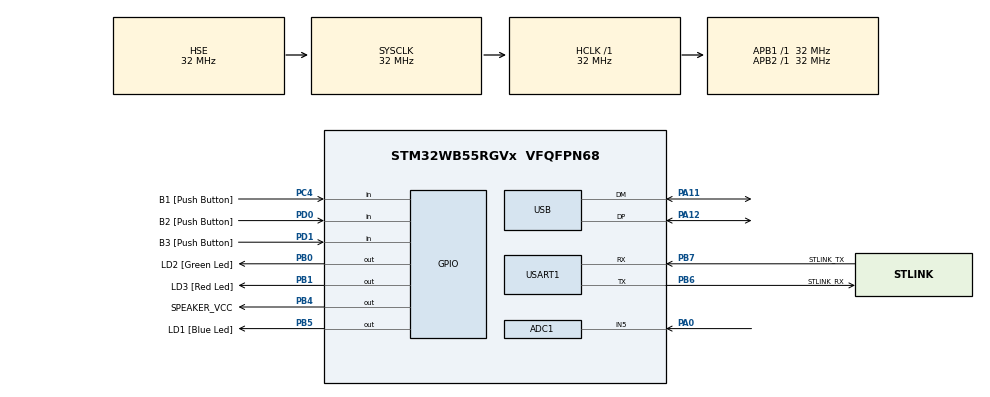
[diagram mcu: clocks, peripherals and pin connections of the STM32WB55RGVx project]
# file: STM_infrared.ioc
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ADC1.Channel-0\#ChannelRegularConversion=ADC_CHANNEL_5
ADC1.DMAContinuousRequests=ENABLE
ADC1.ExternalTrigConv=ADC_EXTERNALTRIG_T2_TRGO
ADC1.NbrOfConversionFlag=1
ADC1.OffsetNumber-0\#ChannelRegularConversion=ADC_OFFSET_NONE
ADC1.Rank-0\#ChannelRegularConversion=1
ADC1.SamplingTime-0\#ChannelRegularConversion=ADC_SAMPLETIME_640CYCLES_5
ADC1.master=1
Dma.ADC1.0.Direction=DMA_PERIPH_TO_MEMORY
Dma.ADC1.0.EventEnable=DISABLE
Dma.ADC1.0.Instance=DMA1_Channel1
Dma.ADC1.0.MemDataAlignment=DMA_MDATAALIGN_HALFWORD
Dma.ADC1.0.MemInc=DMA_MINC_DISABLE
Dma.ADC1.0.Mode=DMA_CIRCULAR
Dma.ADC1.0.PeriphDataAlignment=DMA_PDATAALIGN_HALFWORD
Dma.ADC1.0.PeriphInc=DMA_PINC_DISABLE
Dma.ADC1.0.Polarity=HAL_DMAMUX_REQ_GEN_RISING
Dma.ADC1.0.Priority=DMA_PRIORITY_LOW
Dma.ADC1.0.RequestNumber=1
Dma.ADC1.0.SignalID=NONE
Dma.ADC1.0.SyncEnable=DISABLE
Dma.ADC1.0.SyncPolarity=HAL_DMAMUX_SYNC_NO_EVENT
Dma.ADC1.0.SyncRequestNumber=1
Dma.ADC1.0.SyncSignalID=NONE
Dma.Request0=ADC1
Mcu.Family=STM32WB
Mcu.Name=STM32WB55RGVx
Mcu.Package=VFQFPN68
NVIC.DMA1_Channel1_IRQn=true\:0\:0\:false\:false\:true\:false\:true\:true
NVIC.PriorityGroup=NVIC_PRIORITYGROUP_4
OSC_IN.Mode=HSE-External-Oscillator
OSC_IN.Signal=RCC_OSC_IN
OSC_OUT.Mode=HSE-External-Oscillator
OSC_OUT.Signal=RCC_OSC_OUT
PA0.Signal=ADCx_IN5
PA11.Mode=Device
PA11.Signal=USB_DM
PA12.Mode=Device
PA12.Signal=USB_DP
PA13.GPIO_Label=JTMS
PA13.Mode=Trace_Asynchronous_SW
PA13.Signal=SYS_JTMS-SWDIO
PA14.GPIO_Label=JTCK
PA14.Mode=Trace_Asynchronous_SW
PA14.Signal=SYS_JTCK-SWCLK
PB0.GPIO_Label=LD2 [Green Led]
PB0.Signal=GPIO_Output
PB1.GPIO_Label=LD3 [Red Led]
PB1.Signal=GPIO_Output
PB3.GPIO_Label=JTDO
PB3.Mode=Trace_Asynchronous_SW
PB3.Signal=SYS_JTDO-SWO
PB4.GPIO_Label=SPEAKER_VCC
PB4.Signal=GPIO_Output
PB5.GPIO_Label=LD1 [Blue Led]
PB5.Signal=GPIO_Output
PB6.GPIO_Label=STLINK_RX
PB6.GPIO_PuPd=GPIO_PULLUP
PB6.Mode=Asynchronous
PB6.Signal=USART1_TX
PB7.GPIO_Label=STLINK_TX
PB7.GPIO_PuPd=GPIO_PULLUP
PB7.Mode=Asynchronous
PB7.Signal=USART1_RX
PC13.Mode=SYS_WakeUp1
PC13.Signal=SYS_WKUP2
PC14-OSC32_IN.Mode=LSE-External-Oscillator
PC14-OSC32_IN.Signal=RCC_OSC32_IN
PC15-OSC32_OUT.Mode=LSE-External-Oscillator
PC15-OSC32_OUT.Signal=RCC_OSC32_OUT
PC4.GPIO_Label=B1 [Push Button]
PC4.Signal=GPIO_Input
PD0.GPIO_Label=B2 [Push Button]
PD0.Signal=GPIO_Input
PD1.GPIO_Label=B3 [Push Button]
PD1.Signal=GPIO_Input
ProjectManager.HeapSize=0x200
ProjectManager.StackSize=0x400
ProjectManager.TargetToolchain=STM32CubeIDE
RCC.ADCFreq_Value=48000000
RCC.AHBFreq_Value=32000000
RCC.APB1Freq_Value=32000000
RCC.APB1TimFreq_Value=32000000
RCC.APB2Freq_Value=32000000
RCC.APB2TimFreq_Value=32000000
RCC.APB3Freq_Value=16000000
RCC.CortexFreq_Value=32000000
RCC.HCLKFreq_Value=32000000
RCC.HSE_VALUE=32000000
RCC.HSI48_VALUE=48000000
RCC.HSI_VALUE=16000000
RCC.PLLN=32
RCC.PLLSAI1N=24
RCC.SMPSCLockSelectionVirtual=RCC_SMPSCLKSOURCE_HSI
RCC.SMPSCLockSelectionVirtualVirtual=RCC_SMPSCLKSOURCE_HSI
RCC.SMPSDivider=1
RCC.SYSCLKFreq_VALUE=32000000
RCC.SYSCLKSource=RCC_SYSCLKSOURCE_HSE
RCC.USBFreq_Value=48000000
RCC.VCOOutputFreq_Value=128000000
SH.ADCx_IN5.0=ADC1_IN5,IN5-Single-Ended
TIM2.Period=1000-1
TIM2.Prescaler=3200-1
TIM2.TIM_MasterOutputTrigger=TIM_TRGO_UPDATE
USART1.VirtualMode-Asynchronous=VM_ASYNC
USART1.WordLength=WORDLENGTH_7B
VP_TIM2_VS_ClockSourceINT.Mode=Internal
board=P-NUCLEO-WB55-Nucleo

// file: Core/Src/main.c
/* USER CODE BEGIN Header */
/**
  ******************************************************************************
  * @file           : main.c
  * @brief          : Main program body
  ******************************************************************************
  * @attention
  *
  * <h2><center>&copy; Copyright (c) 2022 STMicroelectronics.
  * All rights reserved.</center></h2>
  *
  * This software component is licensed by ST under BSD 3-Clause license,
  * the "License"; You may not use this file except in compliance with the
  * License. You may obtain a copy of the License at:
  *                        opensource.org/licenses/BSD-3-Clause
  *
  ******************************************************************************
  */
/* USER CODE END Header */
#include "main.h"

/* USER CODE BEGIN Includes */
#include "GP2Y0A02YK0F.h"
#include "string.h"
#include "stdio.h"
/* USER CODE END Includes */

/* USER CODE BEGIN PM */
#define CONVERT_ADC_TO_DISTANCE(adc_val)	((101728 / adc_val) - 21.877)
/* USER CODE END PM */

ADC_HandleTypeDef hadc1;
DMA_HandleTypeDef hdma_adc1;

TIM_HandleTypeDef htim2;

UART_HandleTypeDef huart1;

PCD_HandleTypeDef hpcd_USB_FS;

/* USER CODE BEGIN PV */
static uint32_t adc_measurement = 0;
static volatile uint32_t distance_cm = 0;
static uint8_t counter = 0;
/* USER CODE END PV */

void SystemClock_Config(void);
static void MX_GPIO_Init(void);
static void MX_DMA_Init(void);
static void MX_USART1_UART_Init(void);
static void MX_USB_PCD_Init(void);
static void MX_ADC1_Init(void);
static void MX_TIM2_Init(void);
/* USER CODE BEGIN PFP */
static void Send_Distance_UART(uint32_t distance);
/* USER CODE END PFP */

int main(void)
{

  /* MCU Configuration--------------------------------------------------------*/

  /* Reset of all peripherals, Initializes the Flash interface and the Systick. */
  HAL_Init();

  /* Configure the system clock */
  SystemClock_Config();

  /* Initialize all configured peripherals */
  MX_GPIO_Init();
  MX_DMA_Init();
  MX_USART1_UART_Init();
  MX_USB_PCD_Init();
  MX_ADC1_Init();
  MX_TIM2_Init();
  /* USER CODE BEGIN 2 */
  HAL_ADC_Start_DMA(&hadc1, &adc_measurement, 1);
  HAL_TIM_Base_Start(&htim2);
  /* USER CODE END 2 */

  /* Infinite loop */
  while (1)
  {

  }
}

void SystemClock_Config(void)
{
  RCC_OscInitTypeDef RCC_OscInitStruct = {0};
  RCC_ClkInitTypeDef RCC_ClkInitStruct = {0};
  RCC_PeriphCLKInitTypeDef PeriphClkInitStruct = {0};

  /** Macro to configure the PLL multiplication factor
  */
  __HAL_RCC_PLL_PLLM_CONFIG(RCC_PLLM_DIV1);
  /** Macro to configure the PLL clock source
  */
  __HAL_RCC_PLL_PLLSOURCE_CONFIG(RCC_PLLSOURCE_MSI);
  /** Configure LSE Drive Capability
  */
  HAL_PWR_EnableBkUpAccess();
  __HAL_RCC_LSEDRIVE_CONFIG(RCC_LSEDRIVE_LOW);
  /** Configure the main internal regulator output voltage
  */
  __HAL_PWR_VOLTAGESCALING_CONFIG(PWR_REGULATOR_VOLTAGE_SCALE1);
  /** Initializes the RCC Oscillators according to the specified parameters
  * in the RCC_OscInitTypeDef structure.
  */
  RCC_OscInitStruct.OscillatorType = RCC_OSCILLATORTYPE_HSI|RCC_OSCILLATORTYPE_HSE
                              |RCC_OSCILLATORTYPE_LSE|RCC_OSCILLATORTYPE_MSI;
  RCC_OscInitStruct.HSEState = RCC_HSE_ON;
  RCC_OscInitStruct.LSEState = RCC_LSE_ON;
  RCC_OscInitStruct.HSIState = RCC_HSI_ON;
  RCC_OscInitStruct.MSIState = RCC_MSI_ON;
  RCC_OscInitStruct.HSICalibrationValue = RCC_HSICALIBRATION_DEFAULT;
  RCC_OscInitStruct.MSICalibrationValue = RCC_MSICALIBRATION_DEFAULT;
  RCC_OscInitStruct.MSIClockRange = RCC_MSIRANGE_6;
  RCC_OscInitStruct.PLL.PLLState = RCC_PLL_NONE;
  if (HAL_RCC_OscConfig(&RCC_OscInitStruct) != HAL_OK)
  {
    Error_Handler();
  }
  /** Configure the SYSCLKSource, HCLK, PCLK1 and PCLK2 clocks dividers
  */
  RCC_ClkInitStruct.ClockType = RCC_CLOCKTYPE_HCLK4|RCC_CLOCKTYPE_HCLK2
                              |RCC_CLOCKTYPE_HCLK|RCC_CLOCKTYPE_SYSCLK
                              |RCC_CLOCKTYPE_PCLK1|RCC_CLOCKTYPE_PCLK2;
  RCC_ClkInitStruct.SYSCLKSource = RCC_SYSCLKSOURCE_HSE;
  RCC_ClkInitStruct.AHBCLKDivider = RCC_SYSCLK_DIV1;
  RCC_ClkInitStruct.APB1CLKDivider = RCC_HCLK_DIV1;
  RCC_ClkInitStruct.APB2CLKDivider = RCC_HCLK_DIV1;
  RCC_ClkInitStruct.AHBCLK2Divider = RCC_SYSCLK_DIV1;
  RCC_ClkInitStruct.AHBCLK4Divider = RCC_SYSCLK_DIV1;

  if (HAL_RCC_ClockConfig(&RCC_ClkInitStruct, FLASH_LATENCY_1) != HAL_OK)
  {
    Error_Handler();
  }
  /** Initializes the peripherals clocks
  */
  PeriphClkInitStruct.PeriphClockSelection = RCC_PERIPHCLK_SMPS|RCC_PERIPHCLK_USART1
                              |RCC_PERIPHCLK_USB|RCC_PERIPHCLK_ADC;
  PeriphClkInitStruct.PLLSAI1.PLLN = 24;
  PeriphClkInitStruct.PLLSAI1.PLLP = RCC_PLLP_DIV2;
  PeriphClkInitStruct.PLLSAI1.PLLQ = RCC_PLLQ_DIV2;
  PeriphClkInitStruct.PLLSAI1.PLLR = RCC_PLLR_DIV2;
  PeriphClkInitStruct.PLLSAI1.PLLSAI1ClockOut = RCC_PLLSAI1_USBCLK|RCC_PLLSAI1_ADCCLK;
  PeriphClkInitStruct.Usart1ClockSelection = RCC_USART1CLKSOURCE_PCLK2;
  PeriphClkInitStruct.UsbClockSelection = RCC_USBCLKSOURCE_PLLSAI1;
  PeriphClkInitStruct.AdcClockSelection = RCC_ADCCLKSOURCE_PLLSAI1;
  PeriphClkInitStruct.SmpsClockSelection = RCC_SMPSCLKSOURCE_HSI;
  PeriphClkInitStruct.SmpsDivSelection = RCC_SMPSCLKDIV_RANGE0;
  if (HAL_RCCEx_PeriphCLKConfig(&PeriphClkInitStruct) != HAL_OK)
  {
    Error_Handler();
  }
  /** Enable MSI Auto calibration
  */
  HAL_RCCEx_EnableMSIPLLMode();
}

static void MX_ADC1_Init(void)
{

  ADC_ChannelConfTypeDef sConfig = {0};

  /** Common config
  */
  hadc1.Instance = ADC1;
  hadc1.Init.ClockPrescaler = ADC_CLOCK_ASYNC_DIV1;
  hadc1.Init.Resolution = ADC_RESOLUTION_12B;
  hadc1.Init.DataAlign = ADC_DATAALIGN_RIGHT;
  hadc1.Init.ScanConvMode = ADC_SCAN_DISABLE;
  hadc1.Init.EOCSelection = ADC_EOC_SINGLE_CONV;
  hadc1.Init.LowPowerAutoWait = DISABLE;
  hadc1.Init.ContinuousConvMode = DISABLE;
  hadc1.Init.NbrOfConversion = 1;
  hadc1.Init.DiscontinuousConvMode = DISABLE;
  hadc1.Init.ExternalTrigConv = ADC_EXTERNALTRIG_T2_TRGO;
  hadc1.Init.ExternalTrigConvEdge = ADC_EXTERNALTRIGCONVEDGE_RISING;
  hadc1.Init.DMAContinuousRequests = ENABLE;
  hadc1.Init.Overrun = ADC_OVR_DATA_PRESERVED;
  hadc1.Init.OversamplingMode = DISABLE;
  if (HAL_ADC_Init(&hadc1) != HAL_OK)
  {
    Error_Handler();
  }
  /** Configure Regular Channel
  */
  sConfig.Channel = ADC_CHANNEL_5;
  sConfig.Rank = ADC_REGULAR_RANK_1;
  sConfig.SamplingTime = ADC_SAMPLETIME_640CYCLES_5;
  sConfig.SingleDiff = ADC_SINGLE_ENDED;
  sConfig.OffsetNumber = ADC_OFFSET_NONE;
  sConfig.Offset = 0;
  if (HAL_ADC_ConfigChannel(&hadc1, &sConfig) != HAL_OK)
  {
    Error_Handler();
  }

}

static void MX_TIM2_Init(void)
{

  TIM_ClockConfigTypeDef sClockSourceConfig = {0};
  TIM_MasterConfigTypeDef sMasterConfig = {0};

  htim2.Instance = TIM2;
  htim2.Init.Prescaler = 3200-1;
  htim2.Init.CounterMode = TIM_COUNTERMODE_UP;
  htim2.Init.Period = 1000-1;
  htim2.Init.ClockDivision = TIM_CLOCKDIVISION_DIV1;
  htim2.Init.AutoReloadPreload = TIM_AUTORELOAD_PRELOAD_DISABLE;
  if (HAL_TIM_Base_Init(&htim2) != HAL_OK)
  {
    Error_Handler();
  }
  sClockSourceConfig.ClockSource = TIM_CLOCKSOURCE_INTERNAL;
  if (HAL_TIM_ConfigClockSource(&htim2, &sClockSourceConfig) != HAL_OK)
  {
    Error_Handler();
  }
  sMasterConfig.MasterOutputTrigger = TIM_TRGO_UPDATE;
  sMasterConfig.MasterSlaveMode = TIM_MASTERSLAVEMODE_DISABLE;
  if (HAL_TIMEx_MasterConfigSynchronization(&htim2, &sMasterConfig) != HAL_OK)
  {
    Error_Handler();
  }

}

static void MX_USART1_UART_Init(void)
{

  huart1.Instance = USART1;
  huart1.Init.BaudRate = 115200;
  huart1.Init.WordLength = UART_WORDLENGTH_7B;
  huart1.Init.StopBits = UART_STOPBITS_1;
  huart1.Init.Parity = UART_PARITY_NONE;
  huart1.Init.Mode = UART_MODE_TX_RX;
  huart1.Init.HwFlowCtl = UART_HWCONTROL_NONE;
  huart1.Init.OverSampling = UART_OVERSAMPLING_16;
  huart1.Init.OneBitSampling = UART_ONE_BIT_SAMPLE_DISABLE;
  huart1.Init.ClockPrescaler = UART_PRESCALER_DIV1;
  huart1.AdvancedInit.AdvFeatureInit = UART_ADVFEATURE_NO_INIT;
  if (HAL_UART_Init(&huart1) != HAL_OK)
  {
    Error_Handler();
  }
  if (HAL_UARTEx_SetTxFifoThreshold(&huart1, UART_TXFIFO_THRESHOLD_1_8) != HAL_OK)
  {
    Error_Handler();
  }
  if (HAL_UARTEx_SetRxFifoThreshold(&huart1, UART_RXFIFO_THRESHOLD_1_8) != HAL_OK)
  {
    Error_Handler();
  }
  if (HAL_UARTEx_DisableFifoMode(&huart1) != HAL_OK)
  {
    Error_Handler();
  }

}

static void MX_USB_PCD_Init(void)
{

  hpcd_USB_FS.Instance = USB;
  hpcd_USB_FS.Init.dev_endpoints = 8;
  hpcd_USB_FS.Init.speed = PCD_SPEED_FULL;
  hpcd_USB_FS.Init.phy_itface = PCD_PHY_EMBEDDED;
  hpcd_USB_FS.Init.Sof_enable = DISABLE;
  hpcd_USB_FS.Init.low_power_enable = DISABLE;
  hpcd_USB_FS.Init.lpm_enable = DISABLE;
  hpcd_USB_FS.Init.battery_charging_enable = DISABLE;
  if (HAL_PCD_Init(&hpcd_USB_FS) != HAL_OK)
  {
    Error_Handler();
  }

}

static void MX_DMA_Init(void)
{

  /* DMA controller clock enable */
  __HAL_RCC_DMAMUX1_CLK_ENABLE();
  __HAL_RCC_DMA1_CLK_ENABLE();

  /* DMA interrupt init */
  /* DMA1_Channel1_IRQn interrupt configuration */
  HAL_NVIC_SetPriority(DMA1_Channel1_IRQn, 0, 0);
  HAL_NVIC_EnableIRQ(DMA1_Channel1_IRQn);

}

static void MX_GPIO_Init(void)
{
  GPIO_InitTypeDef GPIO_InitStruct = {0};

  /* GPIO Ports Clock Enable */
  __HAL_RCC_GPIOC_CLK_ENABLE();
  __HAL_RCC_GPIOA_CLK_ENABLE();
  __HAL_RCC_GPIOB_CLK_ENABLE();
  __HAL_RCC_GPIOD_CLK_ENABLE();

  /*Configure GPIO pin Output Level */
  HAL_GPIO_WritePin(GPIOB, LD2_Pin|LD3_Pin|SPEAKER_VCC_Pin|LD1_Pin, GPIO_PIN_RESET);

  /*Configure GPIO pin : B1_Pin */
  GPIO_InitStruct.Pin = B1_Pin;
  GPIO_InitStruct.Mode = GPIO_MODE_INPUT;
  GPIO_InitStruct.Pull = GPIO_NOPULL;
  HAL_GPIO_Init(B1_GPIO_Port, &GPIO_InitStruct);

  /*Configure GPIO pins : LD2_Pin LD3_Pin SPEAKER_VCC_Pin LD1_Pin */
  GPIO_InitStruct.Pin = LD2_Pin|LD3_Pin|SPEAKER_VCC_Pin|LD1_Pin;
  GPIO_InitStruct.Mode = GPIO_MODE_OUTPUT_PP;
  GPIO_InitStruct.Pull = GPIO_NOPULL;
  GPIO_InitStruct.Speed = GPIO_SPEED_FREQ_LOW;
  HAL_GPIO_Init(GPIOB, &GPIO_InitStruct);

  /*Configure GPIO pins : B2_Pin B3_Pin */
  GPIO_InitStruct.Pin = B2_Pin|B3_Pin;
  GPIO_InitStruct.Mode = GPIO_MODE_INPUT;
  GPIO_InitStruct.Pull = GPIO_NOPULL;
  HAL_GPIO_Init(GPIOD, &GPIO_InitStruct);

}

/* USER CODE BEGIN 4 */
void HAL_ADC_ConvCpltCallback(ADC_HandleTypeDef *hadc)
{
	if(adc_measurement == 0)
		return;

	distance_cm = Average_Distance(CONVERT_ADC_TO_DISTANCE(adc_measurement));
	counter++;

	if (counter > NUMBER_OF_SAMPLES)
	{
		Send_Distance_UART(distance_cm);
		counter = 0;
	}
}

static void Send_Distance_UART(uint32_t distance)
{
	char uart_buf[23];
	sprintf(uart_buf, "Distance: %lu [cm]\r\n", (distance));
	HAL_UART_Transmit(&huart1, (uint8_t *)uart_buf, strlen(uart_buf), 100);

	if (distance < 50)
	{
		HAL_GPIO_WritePin(SPEAKER_VCC_GPIO_Port, SPEAKER_VCC_Pin, GPIO_PIN_SET);
	}
	else
	{
		HAL_GPIO_WritePin(SPEAKER_VCC_GPIO_Port, SPEAKER_VCC_Pin, GPIO_PIN_RESET);
	}
}
/* USER CODE END 4 */

void Error_Handler(void)
{
  __disable_irq();
  while (1)
  {
  }
}

/************************ (C) COPYRIGHT STMicroelectronics *****END OF FILE****/
